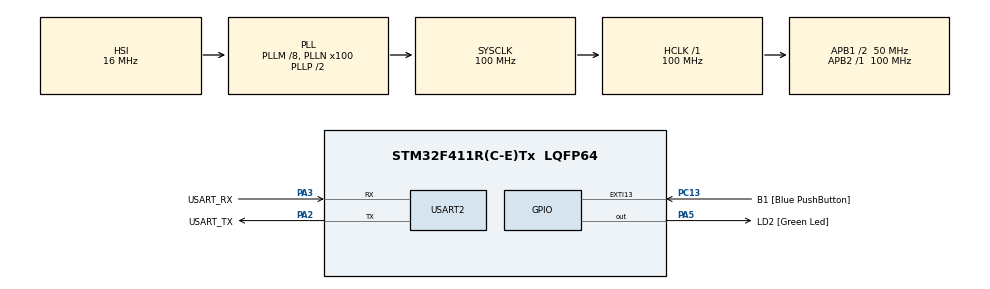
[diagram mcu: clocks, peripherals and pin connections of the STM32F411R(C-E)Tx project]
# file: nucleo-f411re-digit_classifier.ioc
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Mcu.Family=STM32F4
Mcu.Name=STM32F411R(C-E)Tx
Mcu.Package=LQFP64
NVIC.PriorityGroup=NVIC_PRIORITYGROUP_0
NVIC.USART2_IRQn=true\:0\:0\:false\:false\:true\:true\:true\:true
PA13.GPIO_Label=TMS
PA13.Mode=Serial_Wire
PA13.Signal=SYS_JTMS-SWDIO
PA14.GPIO_Label=TCK
PA14.Mode=Serial_Wire
PA14.Signal=SYS_JTCK-SWCLK
PA2.GPIO_Label=USART_TX
PA2.Mode=Asynchronous
PA2.Signal=USART2_TX
PA3.GPIO_Label=USART_RX
PA3.Mode=Asynchronous
PA3.Signal=USART2_RX
PA5.GPIO_Label=LD2 [Green Led]
PA5.Signal=GPIO_Output
PB3.GPIO_Label=SWO
PB3.Signal=SYS_JTDO-SWO
PC13-ANTI_TAMP.GPIO_Label=B1 [Blue PushButton]
PC13-ANTI_TAMP.GPIO_ModeDefaultEXTI=GPIO_MODE_IT_FALLING
PC13-ANTI_TAMP.Signal=GPXTI13
PC14-OSC32_IN.Mode=LSE-External-Oscillator
PC14-OSC32_IN.Signal=RCC_OSC32_IN
PC15-OSC32_OUT.Mode=LSE-External-Oscillator
PC15-OSC32_OUT.Signal=RCC_OSC32_OUT
PH0\ -\ OSC_IN.Mode=HSE-External-Clock-Source
PH0\ -\ OSC_IN.Signal=RCC_OSC_IN
PH1\ -\ OSC_OUT.Mode=HSE-External-Clock-Source
PH1\ -\ OSC_OUT.Signal=RCC_OSC_OUT
ProjectManager.HeapSize=0x800
ProjectManager.StackSize=0x800
ProjectManager.TargetToolchain=STM32CubeIDE
RCC.48MHZClocksFreq_Value=28571428.57142857
RCC.AHBFreq_Value=100000000
RCC.APB1CLKDivider=RCC_HCLK_DIV2
RCC.APB1Freq_Value=50000000
RCC.APB1TimFreq_Value=100000000
RCC.APB2Freq_Value=100000000
RCC.APB2TimFreq_Value=100000000
RCC.CortexFreq_Value=100000000
RCC.FLatency-AdvancedSettings=FLASH_LATENCY_3
RCC.HCLKFreq_Value=100000000
RCC.HSE_VALUE=8000000
RCC.HSI_VALUE=16000000
RCC.PLLM=8
RCC.PLLMUL=RCC_PLL_MUL9
RCC.PLLN=100
RCC.PLLQ=7
RCC.RCC_PLLsource_Clock_Source_FROM_HSE=RCC_HSE_PREDIV_DIV2
RCC.SYSCLKFreq_VALUE=100000000
RCC.SYSCLKSource=RCC_SYSCLKSOURCE_PLLCLK
RCC.SYSCLKSourceVirtual=RCC_SYSCLKSOURCE_PLLCLK
RCC.VCOOutputFreq_Value=200000000
STMicroelectronics.X-CUBE-AI.7.2.0.ActivationBufferSizeList=5456
STMicroelectronics.X-CUBE-AI.7.2.0.ActivationBuffers=pool0
STMicroelectronics.X-CUBE-AI.7.2.0.ActivationNames=pool0
STMicroelectronics.X-CUBE-AI.7.2.0.ActivationSizes=AI_DIGIT_CNN_DATA_ACTIVATION_1_SIZE
STMicroelectronics.X-CUBE-AI.7.2.0.HeapSize=0x800
STMicroelectronics.X-CUBE-AI.7.2.0.InternalRamActivationBufferMaxSize=AI_DIGIT_CNN_DATA_ACTIVATIONS_SIZE
STMicroelectronics.X-CUBE-AI.7.2.0.LatestDirectoryUsed-1c50fab0c4f1325334daf62fc7c3df0dffb2def387e516b4c284ab52f5ea3b15=D\:\\0Lab\\STM32Cube_AI\\MNIST_digit_classification
STMicroelectronics.X-CUBE-AI.7.2.0.MaximumNumberOfInputLayer=1
STMicroelectronics.X-CUBE-AI.7.2.0.MaximumNumberOfOutputLayer=1
STMicroelectronics.X-CUBE-AI.7.2.0.MaximumSizeOfInputLayer=1
STMicroelectronics.X-CUBE-AI.7.2.0.MaximumSizeOfOutputLayer=1
STMicroelectronics.X-CUBE-AI.7.2.0.ModelActualCompression-1c50fab0c4f1325334daf62fc7c3df0dffb2def387e516b4c284ab52f5ea3b15=0.0
STMicroelectronics.X-CUBE-AI.7.2.0.ModelCompression-1c50fab0c4f1325334daf62fc7c3df0dffb2def387e516b4c284ab52f5ea3b15=None
STMicroelectronics.X-CUBE-AI.7.2.0.ModelFlashOccupation-1c50fab0c4f1325334daf62fc7c3df0dffb2def387e516b4c284ab52f5ea3b15=27312
STMicroelectronics.X-CUBE-AI.7.2.0.ModelHashList=1c50fab0c4f1325334daf62fc7c3df0dffb2def387e516b4c284ab52f5ea3b15
STMicroelectronics.X-CUBE-AI.7.2.0.ModelKind-1c50fab0c4f1325334daf62fc7c3df0dffb2def387e516b4c284ab52f5ea3b15=KERAS
STMicroelectronics.X-CUBE-AI.7.2.0.ModelMacc-1c50fab0c4f1325334daf62fc7c3df0dffb2def387e516b4c284ab52f5ea3b15=25448
STMicroelectronics.X-CUBE-AI.7.2.0.ModelName-1c50fab0c4f1325334daf62fc7c3df0dffb2def387e516b4c284ab52f5ea3b15=digit_cnn
STMicroelectronics.X-CUBE-AI.7.2.0.ModelNameList=digit_cnn
STMicroelectronics.X-CUBE-AI.7.2.0.ModelRamOccupation-1c50fab0c4f1325334daf62fc7c3df0dffb2def387e516b4c284ab52f5ea3b15=5456
STMicroelectronics.X-CUBE-AI.7.2.0.ModelStructureFile-1c50fab0c4f1325334daf62fc7c3df0dffb2def387e516b4c284ab52f5ea3b15=D\:\\0Lab\\STM32Cube_AI\\MNIST_digit_classification\\digit_classifier_CNN.h5
STMicroelectronics.X-CUBE-AI.7.2.0.ModelType-1c50fab0c4f1325334daf62fc7c3df0dffb2def387e516b4c284ab52f5ea3b15=Saved model
STMicroelectronics.X-CUBE-AI.7.2.0.ReadyForCodeGeneration=true
STMicroelectronics.X-CUBE-AI.7.2.0.StackSize=0x800
STMicroelectronics.X-CUBE-AI.7.2.0.WorkingBufferStartAddrList=0xFFFFFFFF
STMicroelectronics.X-CUBE-AI.7.2.0.XAaCUBEAaAICcArtificialOoIntelligenceJjCore=true
TIM11.Prescaler=100-1
USART2.VirtualMode=VM_ASYNC
VP_CRC_VS_CRC.Mode=CRC_Activate
VP_STMicroelectronics.X-CUBE-AI_VS_ArtificialOoIntelligenceJjXAaCUBEAaAI_7.2.0.Mode=ArtificialOoIntelligenceJjXAaCUBEAaAI
VP_TIM11_VS_ClockSourceINT.Mode=Enable_Timer
board=NUCLEO-F411RE

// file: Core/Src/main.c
/* USER CODE BEGIN Header */
/**
  ******************************************************************************
  * @file           : main.c
  * @brief          : Main program body
  ******************************************************************************
  * @attention
  *
  * Copyright (c) 2022 STMicroelectronics.
  * All rights reserved.
  *
  * This software is licensed under terms that can be found in the LICENSE file
  * in the root directory of this software component.
  * If no LICENSE file comes with this software, it is provided AS-IS.
  *
  ******************************************************************************
  */
/* USER CODE END Header */
#include "main.h"
#include "crc.h"
#include "tim.h"
#include "usart.h"
#include "gpio.h"

/* USER CODE BEGIN Includes */
#include <stdio.h>
#include "digit_cnn.h"
#include "digit_cnn_data.h"
/* USER CODE END Includes */

/* USER CODE BEGIN PV */
stm32_vcp vcp;

ai_handle network = AI_HANDLE_NULL;
ai_float activations[AI_DIGIT_CNN_DATA_ACTIVATIONS_SIZE];
ai_float in_data[AI_DIGIT_CNN_IN_1_SIZE];
ai_float out_data[AI_DIGIT_CNN_OUT_1_SIZE];

static ai_buffer *ai_input;
static ai_buffer *ai_output;
/* USER CODE END PV */

void SystemClock_Config(void);

/* USER CODE BEGIN 0 */
void aiInit(void){
  char buf[50];
  int buf_len = 0;
  ai_network_params params;
  ai_error ai_err;

  // Create instance of neural network
  ai_err = ai_digit_cnn_create(&network, NULL);
  if (ai_err.type != AI_ERROR_NONE)
  {
    buf_len = sprintf(buf, "Error: could not create NN instance\r\n");
    HAL_UART_Transmit(&huart2, (uint8_t *)buf, buf_len, 100);
    while(1);
  }

  ai_digit_cnn_data_params_get(&params);
  // Initialize neural network
  AI_BUFFER_ARRAY_ITEM_SET_ADDRESS(&params.map_activations, 0, activations);
  if (!ai_digit_cnn_init(network, &params))
  {
    buf_len = sprintf(buf, "Error: could not initialize NN\r\n");
    HAL_UART_Transmit(&huart2, (uint8_t *)buf, buf_len, 100);
    while(1);
  }

  ai_input = ai_digit_cnn_inputs_get(network, NULL);
  ai_output = ai_digit_cnn_outputs_get(network, NULL);
}

int aiRun(const void *in_data, void *out_data){
  ai_i32 n_batch;
  ai_error err;

  ai_input[0].data = AI_HANDLE_PTR(in_data);
  ai_output[0].data = AI_HANDLE_PTR(out_data);
  n_batch = ai_digit_cnn_run(network, &ai_input[0], &ai_output[0]);

  if (n_batch != 1) {
    printf("Error: could not run inference\r\n");
    err = ai_digit_cnn_get_error(network);
    printf("E: AI error - type=0x%x code=0x%x\r\n", err.type, err.code);
  };

  return 0;
}

void tic(){
  __HAL_TIM_SetCounter(&htim11, 0);
  HAL_TIM_Base_Start(&htim11);
}

uint16_t toc(){
  HAL_TIM_Base_Stop(&htim11);
  uint16_t duration = __HAL_TIM_GetCounter(&htim11);
  return duration;
}

uint16_t get_packet_size(){
  uint16_t packet_size = 0;
  uint8_t *ptr = (uint8_t*)&packet_size;
  for(int i = 1; i < 3; i++){
    *(ptr++) = *(vcp.rx_buffer + i);
  }
  return packet_size;
}

void copy_byte(uint8_t *src, uint8_t* dst, uint16_t size){
  for(int i = 0; i < size; i++){
    *(dst++) = *(src++);
  }
}

uint8_t unpack_data(){
  uint8_t *dst;
  switch(vcp.rx_buffer[0]){
  case 'I':
    dst = (uint8_t*)in_data;
    break;
  }

  copy_byte(&vcp.rx_buffer[3], dst, vcp.rx_buffer_index-3);
  vcp.rx_buffer_index=0;
  return (vcp.rx_buffer[0] == 'I')?1:0;
}

uint16_t f_argmax(float *data, uint16_t len){
  uint16_t max_pos = 0;
  for(int i = 0; i < len; i++){
    if(data[max_pos]<data[i]){
        max_pos = i;
    }
  }
  return max_pos;
}
/* USER CODE END 0 */

int main(void)
{
  /* USER CODE BEGIN 1 */
  char buf[50];
  int buf_len = 0;
  uint16_t duration;
  /* USER CODE END 1 */

  /* MCU Configuration--------------------------------------------------------*/

  /* Reset of all peripherals, Initializes the Flash interface and the Systick. */
  HAL_Init();

  /* Configure the system clock */
  SystemClock_Config();

  /* Initialize all configured peripherals */
  MX_GPIO_Init();
  MX_USART2_UART_Init();
  MX_CRC_Init();
  MX_TIM11_Init();
  /* USER CODE BEGIN 2 */
  aiInit();
  HAL_UART_Receive_IT(&huart2, &vcp.rx_data, 1);

  buf_len = sprintf(buf, "\r\n\r\nSTM32 X-Cube-AI classifier for MNIST\r\n");
  HAL_UART_Transmit(&huart2, (uint8_t *)buf, buf_len, 100);

  uint16_t packet_size = 0;
  uint16_t predict = 0;
  uint8_t mcu_status = 0; // 0:Receive Test Image, 1: execute mcu process
  /* USER CODE END 2 */

  /* Infinite loop */
  /* USER CODE BEGIN WHILE */
  while (1)
  {
    if(mcu_status){
      tic();
      aiRun(in_data, out_data);
      duration = toc();
      predict = f_argmax(out_data, AI_DIGIT_CNN_OUT_1_SIZE);

      HAL_UART_Transmit(&huart2, (uint8_t *)&predict, 2, 10);
      HAL_UART_Transmit(&huart2, (uint8_t *)&duration, 2, 10);
      printf("Predict: %u | Duration: %u\r\n", predict, duration);
      mcu_status=0;
    }else{
      if (vcp.rx_buffer_index>=3 && packet_size==0){
        packet_size = get_packet_size();
      }
      if (vcp.rx_buffer_index >= packet_size+3 && packet_size){
        mcu_status = unpack_data();
        packet_size = 0;
      }
    }
    /* USER CODE END WHILE */

  }
}

void SystemClock_Config(void)
{
  RCC_OscInitTypeDef RCC_OscInitStruct = {0};
  RCC_ClkInitTypeDef RCC_ClkInitStruct = {0};

  /** Configure the main internal regulator output voltage
  */
  __HAL_RCC_PWR_CLK_ENABLE();
  __HAL_PWR_VOLTAGESCALING_CONFIG(PWR_REGULATOR_VOLTAGE_SCALE1);

  /** Initializes the RCC Oscillators according to the specified parameters
  * in the RCC_OscInitTypeDef structure.
  */
  RCC_OscInitStruct.OscillatorType = RCC_OSCILLATORTYPE_HSI;
  RCC_OscInitStruct.HSIState = RCC_HSI_ON;
  RCC_OscInitStruct.HSICalibrationValue = RCC_HSICALIBRATION_DEFAULT;
  RCC_OscInitStruct.PLL.PLLState = RCC_PLL_ON;
  RCC_OscInitStruct.PLL.PLLSource = RCC_PLLSOURCE_HSI;
  RCC_OscInitStruct.PLL.PLLM = 8;
  RCC_OscInitStruct.PLL.PLLN = 100;
  RCC_OscInitStruct.PLL.PLLP = RCC_PLLP_DIV2;
  RCC_OscInitStruct.PLL.PLLQ = 7;
  if (HAL_RCC_OscConfig(&RCC_OscInitStruct) != HAL_OK)
  {
    Error_Handler();
  }

  /** Initializes the CPU, AHB and APB buses clocks
  */
  RCC_ClkInitStruct.ClockType = RCC_CLOCKTYPE_HCLK|RCC_CLOCKTYPE_SYSCLK
                              |RCC_CLOCKTYPE_PCLK1|RCC_CLOCKTYPE_PCLK2;
  RCC_ClkInitStruct.SYSCLKSource = RCC_SYSCLKSOURCE_PLLCLK;
  RCC_ClkInitStruct.AHBCLKDivider = RCC_SYSCLK_DIV1;
  RCC_ClkInitStruct.APB1CLKDivider = RCC_HCLK_DIV2;
  RCC_ClkInitStruct.APB2CLKDivider = RCC_HCLK_DIV1;

  if (HAL_RCC_ClockConfig(&RCC_ClkInitStruct, FLASH_LATENCY_3) != HAL_OK)
  {
    Error_Handler();
  }
}

/* USER CODE BEGIN 4 */
int _write(int file, char *ptr, int len)
{
  int DataIdx;
  for (DataIdx=0; DataIdx<len; DataIdx++)
  {
    ITM_SendChar(*ptr++);
  }
  return len;
}
/* USER CODE END 4 */

void Error_Handler(void)
{
  __disable_irq();
  while (1)
  {
  }
}
